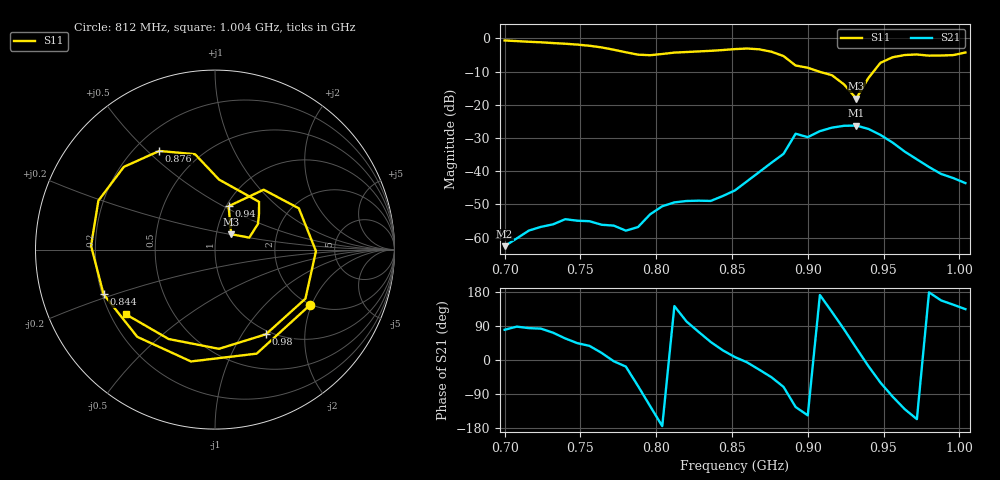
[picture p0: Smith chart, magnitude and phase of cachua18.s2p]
# Hz S RI R 50
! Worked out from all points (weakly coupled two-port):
!   39 points, 700 MHz to 1.004 GHz, reference 50 ohm
!   highest |S21| = -26.25 dB at 932 MHz (marker M1); lowest = -62.6 dB at 700 MHz (marker M2)
!   lowest |S11| = -18.1 dB at 932 MHz (marker M3), VSWR 1.28, Z = 58.9 + j10.3 ohm
!   |S11| at or under -10 dB: 907.5 MHz to 943.4 MHz (35.81 MHz wide, 3.87 % of centre)
!   S12 and S22 are empty: the file has one direction only
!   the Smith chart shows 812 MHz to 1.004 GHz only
!   S11 on the Smith chart (normalised r, x): 812 MHz: 1.96, -1.94; 844 MHz: 0.21, -0.19; 876 MHz: 0.30, +0.54; 940 MHz: 1.03, +0.53; 980 MHz: 0.95, -1.28; 1.004 GHz: 0.26, -0.30
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7e8  0.7675 0.5294  0.000131 0.000731  0 0  0 0
7.24e8  0.8338 -0.2635  0.000182 0.00144  0 0  0 0
7.4e8  0.4441 -0.7039  0.00103 0.00158  0 0  0 0
7.56e8  -0.2 -0.7492  0.0014 0.00107  0 0  0 0
7.72e8  -0.6508 -0.1819  0.00151 -8.71e-05  0 0  0 0
7.8e8  -0.5723 0.2351  0.00121 -0.000382  0 0  0 0
7.88e8  -0.2143 0.528  0.000527 -0.00134  0 0  0 0
7.96e8  0.2677 0.4906  -0.00118 -0.0019  0 0  0 0
8.04e8  0.5685 0.1297  -0.00295 -0.000287  0 0  0 0
8.12e8  0.5273 -0.3106  -0.00268 0.00207  0 0  0 0
8.28e8  -0.1338 -0.6232  0.00098 0.00346  0 0  0 0
8.44e8  -0.6208 -0.2487  0.00382 0.00182  0 0  0 0
8.52e8  -0.6905 0.0212  0.00509 0.000686  0 0  0 0
8.76e8  -0.3105 0.5496  0.00941 -0.00953  0 0  0 0
8.92e8  0.0224 0.3903  -0.0206 -0.0304  0 0  0 0
9.08e8  0.245 0.1958  -0.0397 0.00589  0 0  0 0
9.32e8  0.09 0.0857  0.0414 0.0257  0 0  0 0
9.4e8  0.0759 0.2417  0.0416 -0.012  0 0  0 0
9.56e8  0.4671 0.2299  -0.00315 -0.0268  0 0  0 0
9.72e8  0.5039 -0.2734  -0.0138 -0.00613  0 0  0 0
9.8e8  0.2839 -0.4718  -0.0116 0.000296  0 0  0 0
1.004e9  -0.4964 -0.3605  -0.00462 0.00475  0 0  0 0
